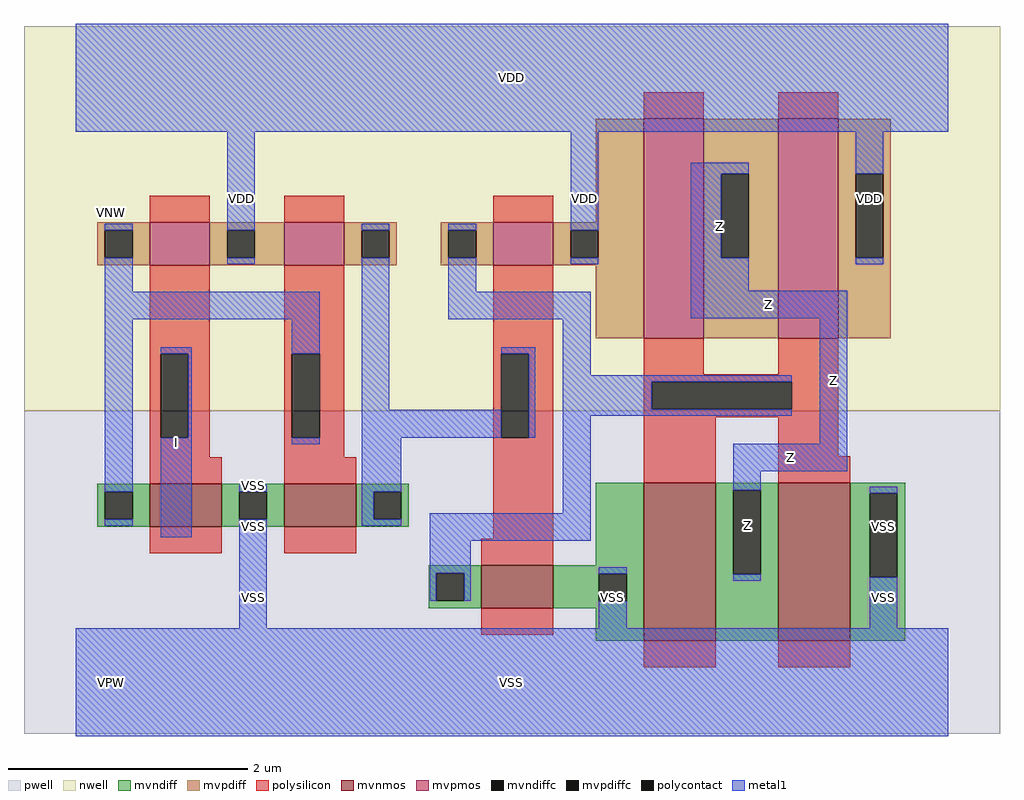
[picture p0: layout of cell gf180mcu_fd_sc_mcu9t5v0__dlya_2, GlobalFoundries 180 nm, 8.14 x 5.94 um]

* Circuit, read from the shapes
.subckt gf180mcu_fd_sc_mcu9t5v0__dlya_2 I Z VDD VNW VPW VSS
XM1 VSS I n1 VPW nfet_06v0 w=0.36u l=0.6u
XM2 n2 n1 VSS VPW nfet_06v0 w=0.36u l=0.6u
XM3 VSS n2 n3 VPW nfet_06v0 w=0.36u l=0.6u
XM4 Z n3 VSS VPW nfet_06v0 w=1.32u l=0.6u m=2
XM5 VDD I n1 VNW pfet_06v0 w=0.36u l=0.5u
XM6 n2 n1 VDD VNW pfet_06v0 w=0.36u l=0.5u
XM7 VDD n2 n3 VNW pfet_06v0 w=0.36u l=0.5u
XM8 Z n3 VDD VNW pfet_06v0 w=1.83u l=0.5u m=2
.ends

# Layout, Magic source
magic
tech gf180mcuD
magscale 1 10
<< nwell >>
rect -86 453 1542 1094
<< pwell >>
rect -86 -86 1542 453
<< mvnmos >>
rect 124 259 244 331
rect 348 259 468 331
rect 677 123 797 195
rect 948 69 1068 333
rect 1172 69 1292 333
<< mvpmos >>
rect 124 695 224 767
rect 348 695 448 767
rect 697 695 797 767
rect 948 574 1048 940
rect 1172 574 1272 940
<< mvndiff >>
rect 36 318 124 331
rect 36 272 49 318
rect 95 272 124 318
rect 36 259 124 272
rect 244 318 348 331
rect 244 272 273 318
rect 319 272 348 318
rect 244 259 348 272
rect 468 318 556 331
rect 468 272 497 318
rect 543 272 556 318
rect 468 259 556 272
rect 868 195 948 333
rect 589 182 677 195
rect 589 136 602 182
rect 648 136 677 182
rect 589 123 677 136
rect 797 181 948 195
rect 797 135 873 181
rect 919 135 948 181
rect 797 123 948 135
rect 868 69 948 123
rect 1068 320 1172 333
rect 1068 180 1097 320
rect 1143 180 1172 320
rect 1068 69 1172 180
rect 1292 315 1384 333
rect 1292 175 1325 315
rect 1371 175 1384 315
rect 1292 69 1384 175
<< mvpdiff >>
rect 868 767 948 940
rect 36 754 124 767
rect 36 708 49 754
rect 95 708 124 754
rect 36 695 124 708
rect 224 754 348 767
rect 224 708 253 754
rect 299 708 348 754
rect 224 695 348 708
rect 448 754 536 767
rect 448 708 477 754
rect 523 708 536 754
rect 448 695 536 708
rect 609 754 697 767
rect 609 708 622 754
rect 668 708 697 754
rect 609 695 697 708
rect 797 754 948 767
rect 797 708 826 754
rect 872 708 948 754
rect 797 695 948 708
rect 868 574 948 695
rect 1048 848 1172 940
rect 1048 708 1077 848
rect 1123 708 1172 848
rect 1048 574 1172 708
rect 1272 848 1360 940
rect 1272 708 1301 848
rect 1347 708 1360 848
rect 1272 574 1360 708
<< mvndiffc >>
rect 49 272 95 318
rect 273 272 319 318
rect 497 272 543 318
rect 602 136 648 182
rect 873 135 919 181
rect 1097 180 1143 320
rect 1325 175 1371 315
<< mvpdiffc >>
rect 49 708 95 754
rect 253 708 299 754
rect 477 708 523 754
rect 622 708 668 754
rect 826 708 872 754
rect 1077 708 1123 848
rect 1301 708 1347 848
<< polysilicon >>
rect 948 940 1048 984
rect 1172 940 1272 984
rect 124 767 224 811
rect 348 767 448 811
rect 697 767 797 811
rect 124 548 224 695
rect 124 408 142 548
rect 188 408 224 548
rect 124 375 224 408
rect 348 548 448 695
rect 348 408 361 548
rect 407 408 448 548
rect 348 375 448 408
rect 697 548 797 695
rect 697 408 710 548
rect 756 408 797 548
rect 124 331 244 375
rect 348 331 468 375
rect 124 215 244 259
rect 348 215 468 259
rect 697 239 797 408
rect 948 514 1048 574
rect 1172 514 1272 574
rect 948 501 1272 514
rect 948 455 961 501
rect 1195 455 1272 501
rect 948 442 1272 455
rect 948 333 1068 442
rect 1172 377 1272 442
rect 1172 333 1292 377
rect 677 195 797 239
rect 677 79 797 123
rect 948 25 1068 69
rect 1172 25 1292 69
<< polycontact >>
rect 142 408 188 548
rect 361 408 407 548
rect 710 408 756 548
rect 961 455 1195 501
<< metal1 >>
rect 0 918 1456 1098
rect 49 754 95 765
rect 49 651 95 708
rect 253 754 299 918
rect 253 697 299 708
rect 477 754 523 765
rect 49 605 407 651
rect 49 318 95 605
rect 49 261 95 272
rect 142 548 194 559
rect 188 408 194 548
rect 142 242 194 408
rect 361 548 407 605
rect 361 397 407 408
rect 477 454 523 708
rect 622 754 668 765
rect 622 651 668 708
rect 826 754 872 918
rect 826 697 872 708
rect 1026 848 1123 866
rect 1026 708 1077 848
rect 1026 653 1123 708
rect 1301 848 1347 918
rect 1301 697 1347 708
rect 622 605 859 651
rect 1026 607 1287 653
rect 710 548 767 559
rect 477 408 710 454
rect 756 408 767 548
rect 813 512 859 605
rect 813 501 1195 512
rect 813 455 961 501
rect 813 444 1195 455
rect 273 318 319 329
rect 273 90 319 272
rect 477 318 543 408
rect 477 272 497 318
rect 813 282 859 444
rect 1241 398 1287 607
rect 477 261 543 272
rect 591 236 859 282
rect 1097 352 1287 398
rect 1097 320 1143 352
rect 591 182 659 236
rect 591 136 602 182
rect 648 136 659 182
rect 873 181 919 192
rect 1097 169 1143 180
rect 1325 315 1371 326
rect 873 90 919 135
rect 1325 90 1371 175
rect 0 -90 1456 90
<< labels >>
flabel metal1 s 142 242 194 559 0 FreeSans 200 0 0 0 I
port 1 nsew default input
flabel metal1 s 0 918 1456 1098 0 FreeSans 200 0 0 0 VDD
port 3 nsew power bidirectional abutment
flabel metal1 s 273 326 319 329 0 FreeSans 200 0 0 0 VSS
port 6 nsew ground bidirectional abutment
flabel metal1 s 1026 653 1123 866 0 FreeSans 200 0 0 0 Z
port 2 nsew default output
flabel nwell s 10 734 110 834 0 FreeSans 400 0 0 0 VNW
port 4 nsew power bidirectional
flabel pwell s 10 -50 110 50 0 FreeSans 400 0 0 0 VPW
port 5 nsew ground bidirectional
rlabel metal1 s 1026 607 1287 653 1 Z
port 2 nsew default output
rlabel metal1 s 1241 398 1287 607 1 Z
port 2 nsew default output
rlabel metal1 s 1097 352 1287 398 1 Z
port 2 nsew default output
rlabel metal1 s 1097 169 1143 352 1 Z
port 2 nsew default output
rlabel metal1 s 1301 697 1347 918 1 VDD
port 3 nsew power bidirectional abutment
rlabel metal1 s 826 697 872 918 1 VDD
port 3 nsew power bidirectional abutment
rlabel metal1 s 253 697 299 918 1 VDD
port 3 nsew power bidirectional abutment
rlabel metal1 s 1325 192 1371 326 1 VSS
port 6 nsew ground bidirectional abutment
rlabel metal1 s 273 192 319 326 1 VSS
port 6 nsew ground bidirectional abutment
rlabel metal1 s 1325 90 1371 192 1 VSS
port 6 nsew ground bidirectional abutment
rlabel metal1 s 873 90 919 192 1 VSS
port 6 nsew ground bidirectional abutment
rlabel metal1 s 273 90 319 192 1 VSS
port 6 nsew ground bidirectional abutment
rlabel metal1 s 0 -90 1456 90 1 VSS
port 6 nsew ground bidirectional abutment
<< properties >>
string FIXED_BBOX 0 0 1456 1008
string GDS_END 702046
string GDS_FILE $PDKPATH/libs.ref/gf180mcu_fd_sc_mcu9t5v0/gds/gf180mcu_fd_sc_mcu9t5v0.gds
string GDS_START 697560
string LEFclass core
string LEFsite GF018hv5v_green_sc9
string LEFsymmetry X Y
<< end >>
